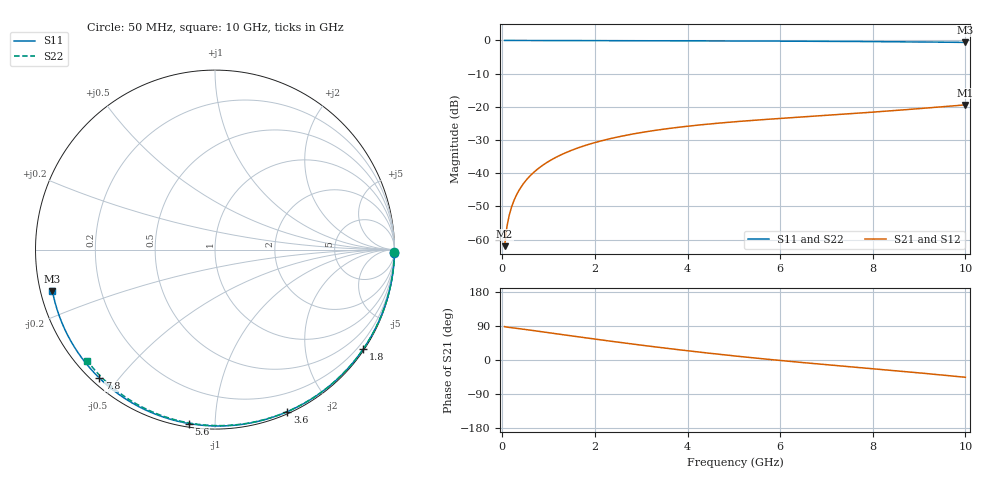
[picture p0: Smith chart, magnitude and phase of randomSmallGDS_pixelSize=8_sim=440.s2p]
! freq	dB(S11)	phase(S11)	dB(S12)	phase(S12)
!  dB(S21)	phase(S21)	dB(S22)	phase(S22)
!S-par simulation data
#  GHz  S  DB  R 50
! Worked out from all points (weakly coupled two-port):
!   200 points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, 50 MHz to 10 GHz, reference 50 ohm
!   highest |S21| = -19.40 dB at 10 GHz (marker M1); lowest = -62.0 dB at 50 MHz (marker M2)
!   lowest |S11| = -0.6 dB at 10 GHz (marker M3), VSWR 29.66, Z = 1.71 - j6.28 ohm
!   |S11| at or under -10 dB: nowhere
!   |S22| runs from -0.5 to 0.0 dB; largest |S21 - S12| = 0
!   S11 on the Smith chart (normalised r, x): 50 MHz: open; 1.8 GHz: 0.03, -3.27; 3.6 GHz: 0.02, -1.54; 5.6 GHz: 0.02, -0.86; 7.8 GHz: 0.02, -0.44; 10 GHz: 0.03, -0.13
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0.05  -0.00 -1.0  -61.98 88.1  -61.98 88.1  -0.00 -0.8
0.1  -0.00 -1.9  -56.08 86.8  -56.08 86.8  -0.00 -1.6
0.15  -0.00 -2.9  -52.65 85.9  -52.65 85.9  -0.00 -2.5
0.2  -0.00 -3.8  -50.21 85.2  -50.21 85.2  -0.00 -3.3
0.35  -0.01 -6.7  -45.42 82.9  -45.42 82.9  -0.00 -5.7
0.5  -0.01 -9.6  -42.36 80.5  -42.36 80.5  -0.01 -8.2
0.7  -0.02 -13.4  -39.48 77.2  -39.48 77.2  -0.01 -11.4
1  -0.02 -19.1  -36.45 72.1  -36.45 72.1  -0.02 -16.2
1.35  -0.03 -25.6  -33.94 66.1  -33.94 66.1  -0.03 -21.8
1.75  -0.04 -33.0  -31.82 59.4  -31.82 59.4  -0.04 -28.1
1.8  -0.05 -34.0  -31.60 58.5  -31.60 58.5  -0.04 -28.9
2.6  -0.07 -48.5  -28.77 45.5  -28.77 45.5  -0.06 -41.3
3.4  -0.09 -62.5  -26.89 33.1  -26.89 33.1  -0.08 -53.4
3.6  -0.10 -65.9  -26.51 30.2  -26.51 30.2  -0.08 -56.3
4.3  -0.12 -77.7  -25.40 20.2  -25.40 20.2  -0.10 -66.4
5.05  -0.15 -89.9  -24.47 10.3  -24.47 10.3  -0.13 -76.9
5.6  -0.18 -98.6  -23.89 3.5  -23.89 3.5  -0.15 -84.4
6.7  -0.24 -115.5  -22.84 -9.1  -22.84 -9.1  -0.21 -98.8
7.8  -0.33 -132.0  -21.80 -20.9  -21.80 -20.9  -0.28 -112.5
8.35  -0.38 -140.2  -21.24 -26.8  -21.24 -26.8  -0.33 -119.2
9.2  -0.48 -153.1  -20.32 -36.2  -20.32 -36.2  -0.41 -129.5
10  -0.59 -165.7  -19.40 -45.6  -19.40 -45.6  -0.51 -139.0
